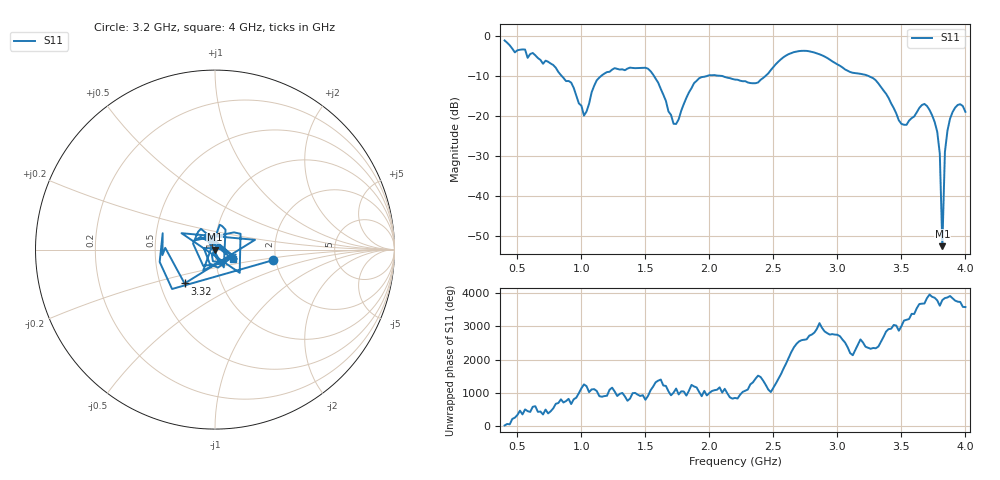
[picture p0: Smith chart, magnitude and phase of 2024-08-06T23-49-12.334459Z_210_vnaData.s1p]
!Created with skrf (http://scikit-rf.org).
# Hz S RI R 50.0
!freq ReS11 ImS11
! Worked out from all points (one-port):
!   181 points, 400 MHz to 4 GHz, reference 50 ohm
!   lowest |S11| = -52.5 dB at 3.82 GHz (marker M1), VSWR 1.00, Z = 49.8 - j0.0098 ohm
!   |S11| at or under -10 dB: 1.566 GHz to 1.987 GHz (420.6 MHz wide, 23.7 % of centre); 2.084 GHz to 2.44 GHz (356 MHz wide, 15.7 % of centre); 3.239 GHz to end of sweep (the widest 3 of 4)
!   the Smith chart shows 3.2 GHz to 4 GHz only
!   S11 on the Smith chart (normalised r, x): 3.2 GHz: 1.93, -0.26; 3.32 GHz: 0.67, -0.27; 4 GHz: 1.21, -0.13
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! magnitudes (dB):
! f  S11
! 400 MHz  -1.2
! 860 MHz  -10.5
! 920 MHz  -11.7
! 1.02 GHz  -19.9
! 1.12 GHz  -11.1
! 1.3 GHz  -8.4
! 1.52 GHz  -8.2
! 1.6 GHz  -11.7
! 1.72 GHz  -22.0
! 1.76 GHz  -20.9
! 1.92 GHz  -10.6
! 2.2 GHz  -10.9
! 2.38 GHz  -11.7
! 2.66 GHz  -4.1
! 2.84 GHz  -4.4
! 3.1 GHz  -9.1
! 3.2 GHz  -9.7
! 3.32 GHz  -11.9
! 3.5 GHz  -22.0
! 3.56 GHz  -21.2
! 3.68 GHz  -17.0
! 3.76 GHz  -21.5
! 3.8 GHz  -29.4
! 3.82 GHz  -52.5
! 3.84 GHz  -29.0
! 3.86 GHz  -23.7
! 3.92 GHz  -17.9
! 4 GHz  -19.0
